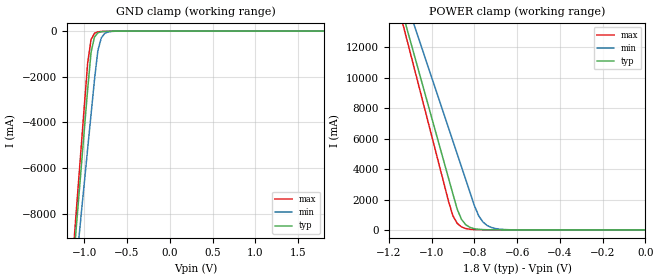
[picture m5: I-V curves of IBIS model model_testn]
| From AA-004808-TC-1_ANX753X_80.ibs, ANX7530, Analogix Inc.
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[Model]  model_testn
Model_type Input
Polarity   Non-Inverting
C_comp   2.3000pF   NA   NA
[Temperature Range]   27.0000   100.0000   0.0
[Voltage Range]   1.8000V   1.6200V   1.9800V
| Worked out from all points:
|   GND clamp passes 1 mA (typ) near -0.52 V on its own axis
|   POWER clamp passes 1 mA (typ) near -0.46 V on its own axis
[GND_clamp]
|Voltage   I(typ)   I(min)   I(max)
-1.8V     -41.12A    -37.43A    -43.07A
-1.12V    -9.872A    -11.29A    -9.268A
-1.08V    -8.044A    -9.764A    -7.295A
-1.04V    -6.22A     -8.236A    -5.327A
-960mV    -2.582A    -5.185A    -1.419A
-920mV    -934.9mA   -3.663A    -373.8mA
-880mV    -262.2mA   -2.143A    -96.85mA
-840mV    -74.88mA   -850.4mA   -33.52mA
-800mV    -26.53mA   -296.9mA   -18.35mA
-760mV    -13.27mA   -101.8mA   -13.33mA
-720mV    -8.641mA   -36.45mA   -10.46mA
1.8V      29.74uA    16.64uA    49.23uA
[POWER_clamp]
|Voltage   I(typ)   I(min)   I(max)
-1.8V     47.86A     43.79A     49.88A
-1.14V    14.49A     15.95A     13.86A
-1.12V    13.48A     15.11A     12.77A
-1.1V     12.47A     14.27A     11.68A
-1.08V    11.46A     13.42A     10.59A
-1.06V    10.45A     12.58A     9.498A
-920mV    3.374A     6.68A      1.858A
-900mV    2.363A     5.837A     932.5mA
-860mV    698.8mA    4.15A      200.8mA
-780mV    42.57mA    941.8mA    17.22mA
-720mV    10mA       163.4mA    9.264mA
0V        29.74uA    15.06uA    49.31uA
